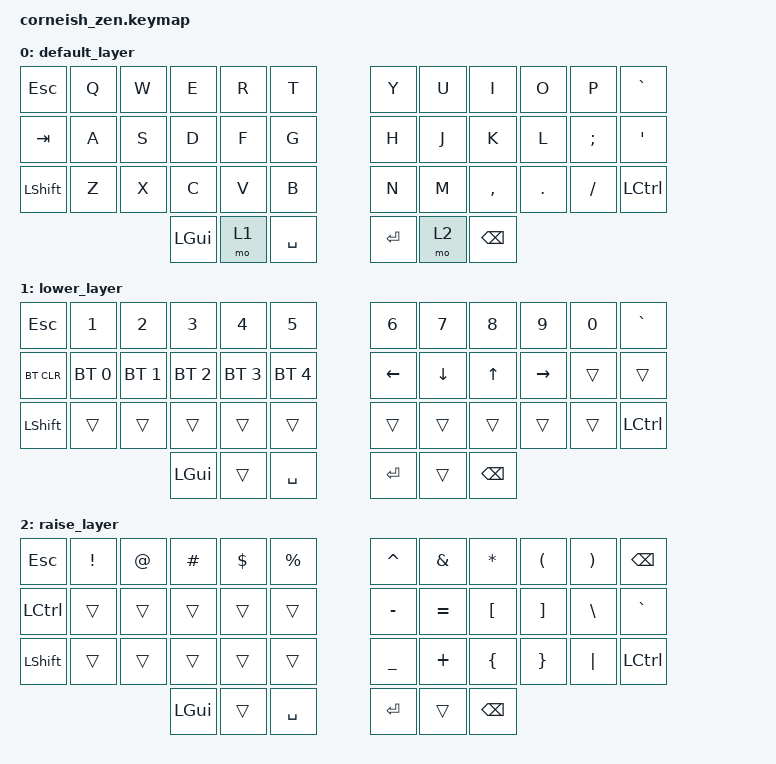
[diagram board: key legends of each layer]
/*
*
* Copyright (c) 2021 Darryl deHaan
* SPDX-License-Identifier: MIT
*
*/

#include <behaviors.dtsi>
#include <dt-bindings/zmk/keys.h>
#include <dt-bindings/zmk/bt.h>

/ {
    chosen {
        zmk,physical-layout = &foostan_corne_6col_layout;
        // zmk,physical-layout = &foostan_corne_5col_layout;
    };
};

/ {
    keymap {
        compatible = "zmk,keymap";

        default_layer {
            // -----------------------------------------------------------------------------------------
            // |  TAB |  Q  |  W  |  E  |  R  |  T  |   |  Y  |  U   |  I  |  O  |  P  | BSPC |
            // | CTRL |  A  |  S  |  D  |  F  |  G  |   |  H  |  J   |  K  |  L  |  ;  |  '   |
            // | SHFT |  Z  |  X  |  C  |  V  |  B  |   |  N  |  M   |  ,  |  .  |  /  | ESC  |
            //                    | GUI | LWR | SPC |   | ENT | RSE  | ALT |

            bindings = <
&kp ESC    &kp Q  &kp W  &kp E     &kp R  &kp T        &kp Y    &kp U  &kp I          &kp O    &kp P     &kp GRAVE
&kp TAB    &kp A  &kp S  &kp D     &kp F  &kp G        &kp H    &kp J  &kp K          &kp L    &kp SEMI  &kp SQT
&kp LSHFT  &kp Z  &kp X  &kp C     &kp V  &kp B        &kp N    &kp M  &kp COMMA      &kp DOT  &kp FSLH  &kp LCTRL
                         &kp LGUI  &mo 1  &kp SPACE    &kp RET  &mo 2  &kp BACKSPACE
            >;
        };

        lower_layer {
            // -----------------------------------------------------------------------------------------
            // |  TAB |  1  |  2  |  3  |  4  |  5  |   |  6  |  7  |  8  |  9  |  0  | BSPC |
            // | BTCLR| BT1 | BT2 | BT3 | BT4 | BT5 |   | LFT | DWN |  UP | RGT |     |      |
            // | SHFT |     |     |     |     |     |   |     |     |     |     |     |      |
            //                    | GUI |     | SPC |   | ENT |     | ALT |

            bindings = <
&kp ESC     &kp N1        &kp N2        &kp N3        &kp N4        &kp N5          &kp N6    &kp N7    &kp N8         &kp N9     &kp N0  &kp GRAVE
&bt BT_CLR  &bt BT_SEL 0  &bt BT_SEL 1  &bt BT_SEL 2  &bt BT_SEL 3  &bt BT_SEL 4    &kp LEFT  &kp DOWN  &kp UP         &kp RIGHT  &trans  &trans
&kp LSHFT   &trans        &trans        &trans        &trans        &trans          &trans    &trans    &trans         &trans     &trans  &kp LCTRL
                                        &kp LGUI      &trans        &kp SPACE       &kp RET   &trans    &kp BACKSPACE
            >;
        };

        raise_layer {
            // -----------------------------------------------------------------------------------------
            // |  TAB |  !  |  @  |  #  |  $  |  %  |   |  ^  |  &  |  *  |  (  |  )  | BSPC |
            // | CTRL |     |     |     |     |     |   |  -  |  =  |  [  |  ]  |  \  |  `   |
            // | SHFT |     |     |     |     |     |   |  _  |  +  |  {  |  }  | "|" |  ~   |
            //                    | GUI |     | SPC |   | ENT |     | ALT |

            bindings = <
&kp ESC    &kp EXCL  &kp AT  &kp HASH  &kp DLLR  &kp PRCNT    &kp CARET  &kp AMPS   &kp ASTRK      &kp LPAR  &kp RPAR  &kp BSPC
&kp LCTRL  &trans    &trans  &trans    &trans    &trans       &kp MINUS  &kp EQUAL  &kp LBKT       &kp RBKT  &kp BSLH  &kp GRAVE
&kp LSHFT  &trans    &trans  &trans    &trans    &trans       &kp UNDER  &kp PLUS   &kp LBRC       &kp RBRC  &kp PIPE  &kp LCTRL
                             &kp LGUI  &trans    &kp SPACE    &kp RET    &trans     &kp BACKSPACE
            >;
        };
    };
};
